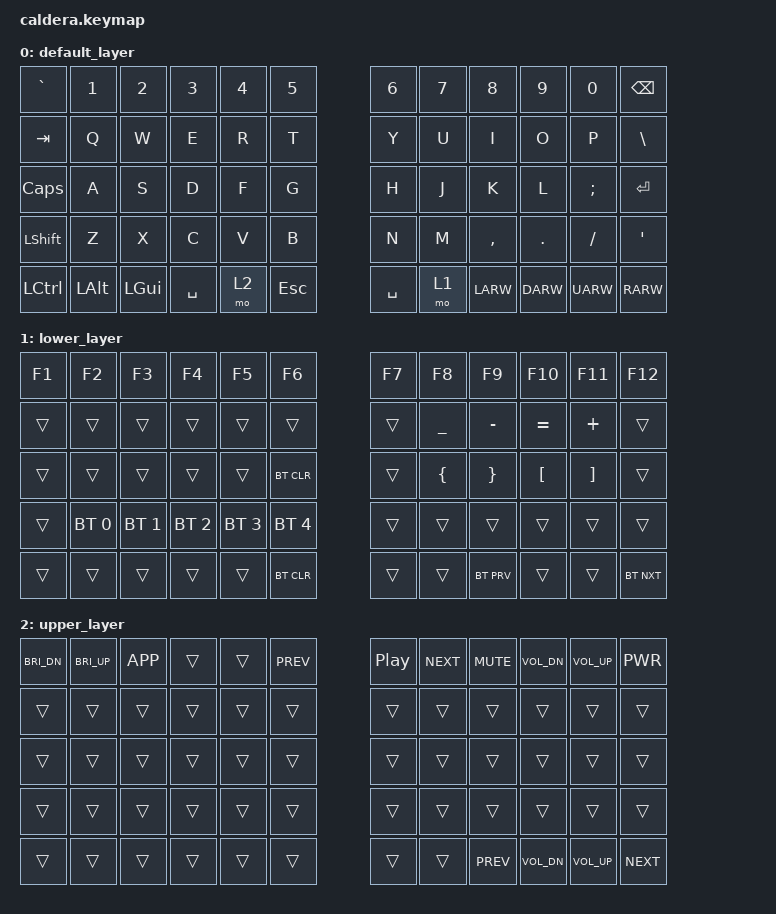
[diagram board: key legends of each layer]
#include <behaviors.dtsi>
#include <dt-bindings/zmk/keys.h>
#include <dt-bindings/zmk/bt.h>

/ {
        keymap {
                compatible = "zmk,keymap";

                default_layer {
// ---------------------------------------------------------------------------------
// |   `  |  1  |  2  |  3  |  4  |  5  |     |  6  |  7  |  8  |  9  |  0  | BKSP |
// |  TAB |  Q  |  W  |  E  |  R  |  T  |     |  Y  |  U  |  I  |  O  |  P  |  \   |
// | CAPS |  A  |  S  |  D  |  F  |  G  |     |  H  |  J  |  K  |  L  |  ;  |  ENT |
// | SHFT |  Z  |  X  |  C  |  V  |  B  |     |  N  |  M  |  ,  |  .  |  /  | APOS |
// | CTRL | ALT | GUI | SPC | UPP | ESC |     | SPC | LOW |LARW |DARW |UARW | RARW |
                        bindings = <
   &kp GRAVE  &kp N1    &kp N2    &kp N3     &kp N4     &kp N5               &kp N6     &kp N7  &kp N8     &kp N9    &kp N0    &kp BSPC
   &kp TAB    &kp Q     &kp W     &kp E      &kp R      &kp T                &kp Y      &kp U   &kp I      &kp O     &kp P     &kp BSLH
   &kp CAPS   &kp A     &kp S     &kp D      &kp F      &kp G                &kp H      &kp J   &kp K      &kp L     &kp SEMI  &kp RET
   &kp LSHFT  &kp Z     &kp X     &kp C      &kp V      &kp B                &kp N      &kp M   &kp COMMA  &kp DOT   &kp FSLH  &kp APOS
   &kp LCTRL  &kp LALT  &kp LGUI  &kp SPACE  &mo 2   &kp ESC              &kp SPACE  &mo 1   &kp LARW   &kp DARW  &kp UARW  &kp RARW
                        >;
                };
                lower_layer {
// ------------------------------------------------------------------------------------------------------------
// |  F1   |   F2  |   F3  |   F4  |   F5  |   F6  |          |  F7   |  F8   |  F9   |  F10  |  F11  |  F12  |
// |       |       |       |       |       |       |          |       |   _   |   -   |   =   |   +   |       |
// |       |       |       |       |       |       |          |       | LBRC  | RBRC  | LBKT  | RBKT  |       |
// |       |  BT1  |  BT2  |  BT3  |  BT4  |  BT5  |          |       |       |       |       |       |       |
// |       |       |       |       |       | BTCLR |          |       |       | BTPREV|       |       | BTNEXT|
                        bindings = <
   &kp F1    &kp F2         &kp F3         &kp F4         &kp F5         &kp F6           &kp F7    &kp F8      &kp F9     &kp F10    &kp F11    &kp F12
   &trans    &trans         &trans         &trans         &trans         &trans           &trans    &kp UNDER   &kp MINUS  &kp EQUAL  &kp PLUS   &trans
   &trans    &trans         &trans         &trans         &trans         &bt BT_CLR       &trans    &kp LBRC    &kp RBRC   &kp LBKT   &kp RBKT   &trans
   &trans    &bt BT_SEL 0   &bt BT_SEL 1   &bt BT_SEL 2   &bt BT_SEL 3   &bt BT_SEL 4     &trans    &trans      &trans     &trans     &trans     &trans
   &trans    &trans         &trans         &trans         &trans         &bt BT_CLR       &trans    &trans      &bt BT_PRV &trans     &trans     &bt BT_NXT
                        >;
                };
               upper_layer {
// ------------------------------------------------------------------------------------------------------------
// | BRTDN | BRTUP | MCTRL |       |       |  PREV |          |  PLAY |  NEXT |  MUTE | VOLDN| VOLUP |   PWR  |
// |       |       |       |       |       |       |          |       |       |       |      |       |        |
// |       |       |       |       |       |       |          |       |       |       |      |       |        |
// |       |       |       |       |       |       |          |       |       |       |      |       |        |
// |       |       |       |       |       |       |          |       |       |  PREV | VOLDN| VOLUP |   NEXT |                        
                        bindings = <
   &kp C_BRI_DN  &kp C_BRI_UP   &kp K_APP  &trans   &trans   &kp C_PREV          &kp C_PP  &kp C_NEXT  &kp C_MUTE  &kp C_VOL_DN  &kp C_VOL_UP  &kp C_PWR
   &trans        &trans         &trans     &trans   &trans   &trans              &trans    &trans      &trans      &trans        &trans        &trans
   &trans        &trans         &trans     &trans   &trans   &trans              &trans    &trans      &trans      &trans        &trans        &trans
   &trans        &trans         &trans     &trans   &trans   &trans              &trans    &trans      &trans      &trans        &trans        &trans
   &trans        &trans         &trans     &trans   &trans   &trans              &trans    &trans      &kp C_PREV  &kp C_VOL_DN  &kp C_VOL_UP  &kp C_NEXT
                        >;
        };
};
};
